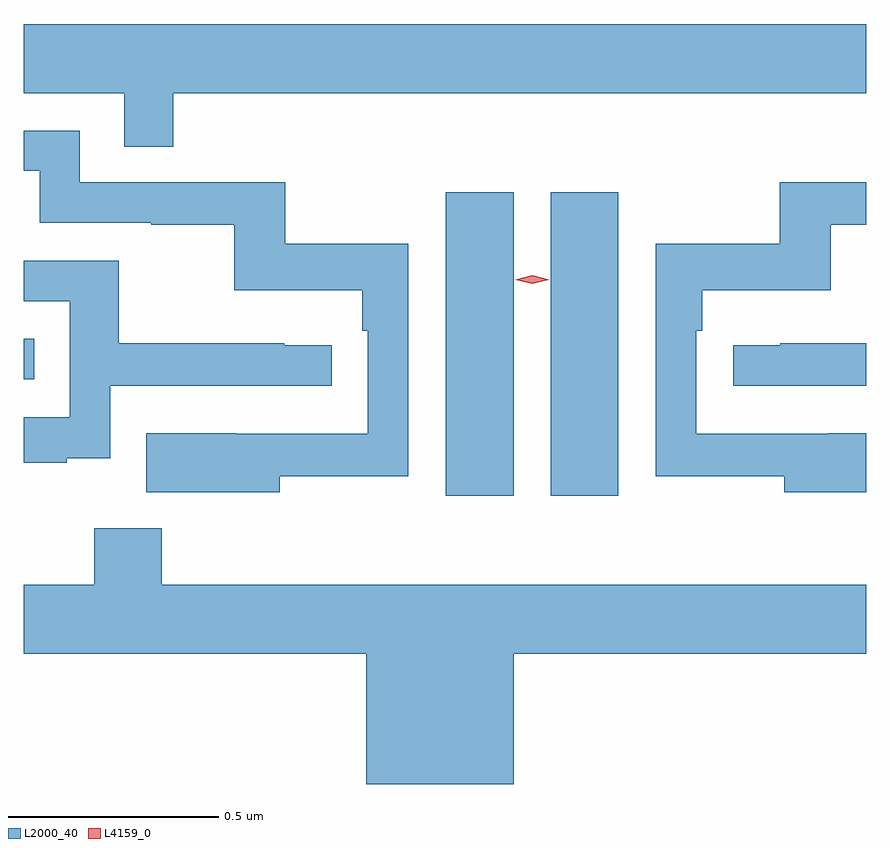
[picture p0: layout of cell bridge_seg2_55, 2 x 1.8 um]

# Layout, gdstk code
import gdstk
lib = gdstk.Library(unit=1e-6, precision=1e-09)
def R(c, l, rs):  # rectangles x0, y0, x1, y1
    for r in rs: c.add(gdstk.rectangle(r[:2], r[2:], *l))
def P(c, l, *ps):  # polygons
    for p in ps: c.add(gdstk.Polygon(p, *l))
L2000_40 = (2000, 40)
L4159_0 = (4159, 0)

bridge_seg2_55 = lib.new_cell('bridge_seg2_55')
R(bridge_seg2_55, L2000_40, [(907.031,660,907.192,660.721), (907.28,660,907.441,660.721), (906.029,660.276,906.053,660.372)])
P(bridge_seg2_55, L2000_40, [(906.383,660.956),(908.029,660.956),(908.029,661.12),(906.029,661.12),(906.029,660.956),(906.267,660.956),(906.267,660.829),(906.383,660.829)],
  [(906.637,660.046),(906.942,660.046),(906.942,660.598),(906.649,660.598),(906.649,660.744),(906.162,660.744),(906.162,660.867),(906.029,660.867),(906.029,660.771),(906.066,660.771),(906.066,660.648),(906.331,660.648),(906.331,660.643),(906.528,660.643),(906.528,660.488),(906.833,660.488),(906.833,660.392),(906.846,660.392),(906.846,660.147),(906.533,660.147),(906.533,660.148),(906.319,660.148),(906.319,660.008),(906.637,660.008)],
  [(908.029,660.148),(907.939,660.148),(907.939,660.147),(907.626,660.147),(907.626,660.392),(907.64,660.392),(907.64,660.488),(907.945,660.488),(907.945,660.643),(908.029,660.643),(908.029,660.744),(907.824,660.744),(907.824,660.598),(907.53,660.598),(907.53,660.046),(907.835,660.046),(907.835,660.008),(908.029,660.008)],
  [(906.131,660.089),(906.234,660.089),(906.234,660.261),(906.76,660.261),(906.76,660.357),(906.647,660.357),(906.647,660.362),(906.254,660.362),(906.254,660.558),(906.029,660.558),(906.029,660.462),(906.138,660.462),(906.138,660.186),(906.029,660.186),(906.029,660.078),(906.131,660.078)],
  [(908.029,660.362),(907.825,660.362),(907.825,660.357),(907.713,660.357),(907.713,660.261),(908.029,660.261)],
  [(907.192,659.624),(908.029,659.624),(908.029,659.788),(906.356,659.788),(906.356,659.923),(906.196,659.923),(906.196,659.788),(906.029,659.788),(906.029,659.624),(906.842,659.624),(906.842,659.315),(907.192,659.315)])
P(bridge_seg2_55, L4159_0, [(907.236,660.503),(907.196,660.513),(907.196,660.513),(907.196,660.513),(907.236,660.523),(907.276,660.513),(907.276,660.513),(907.276,660.513)])

lib.write_gds('bridge_seg2_55.gds')
